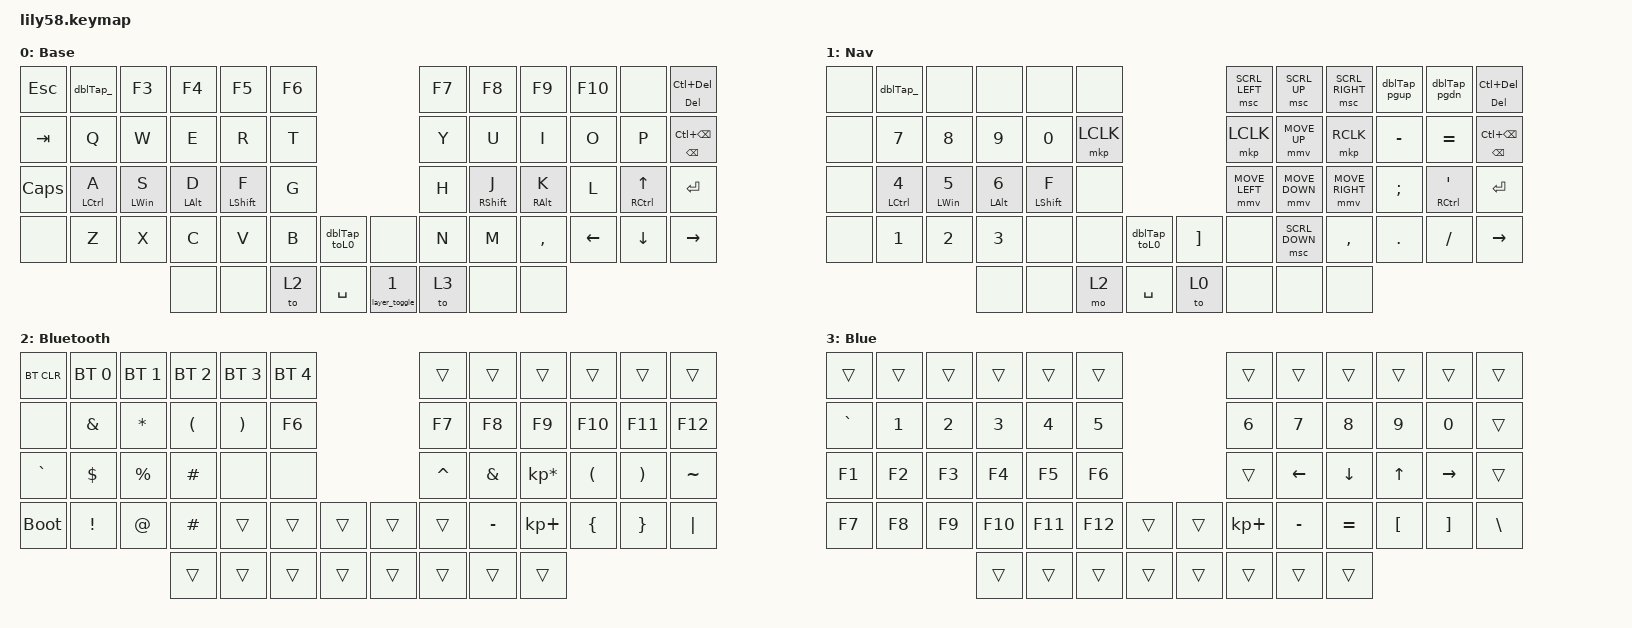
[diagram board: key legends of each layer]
/*
 * Copyright (c) 2020 The ZMK Contributors
 *
 * SPDX-License-Identifier: MIT
 */

#include <behaviors.dtsi>
#include <dt-bindings/zmk/bt.h>
#include <dt-bindings/zmk/keys.h>
#include <dt-bindings/zmk/pointing.h>

/ {
    behaviors {
        hml: hml {
            compatible = "zmk,behavior-hold-tap";
            label = "HML";
            bindings = <&kp>, <&kp>;

            #binding-cells = <2>;
            tapping-term-ms = <300>;
            hold-trigger-key-positions = <54 6 7 8 9 10 11 18 19 20 21 22 23 30 31 32 33 34 35 43 44 45 46 47 48 49 54 55 56 57>;
            hold-trigger-on-release;
            hold-while-undecided;
            flavor = "tap-preferred";
        };

        hml_shft: hml_shft {
            compatible = "zmk,behavior-hold-tap";
            label = "HML_SHFT";
            bindings = <&kp>, <&kp>;

            #binding-cells = <2>;
            tapping-term-ms = <200>;
            hold-while-undecided;
            hold-trigger-on-release;
            hold-trigger-key-positions = <21 6 7 8 9 10 11 18 19 20 21 22 23 30 31 32 33 34 35 43 44 45 46 47 48 49 54 55 56 57>;
        };

        hmr_shft: hmr_shft {
            compatible = "zmk,behavior-hold-tap";
            label = "HMR_SHFT";
            bindings = <&kp>, <&kp>;

            #binding-cells = <2>;
            hold-while-undecided;
            hold-trigger-on-release;
            hold-trigger-key-positions = <53 0 1 2 3 4 5 12 13 14 15 16 17 24 25 26 27 28 29 36 37 38 39 40 41 42 50 51 52 53>;
            tapping-term-ms = <200>;
        };

        hmr: hmr {
            compatible = "zmk,behavior-hold-tap";
            label = "HMR";
            bindings = <&kp>, <&kp>;

            #binding-cells = <2>;
            tapping-term-ms = <250>;
            hold-trigger-on-release;
            hold-while-undecided;
            flavor = "tap-preferred";
            hold-trigger-key-positions = <53 0 1 2 3 4 5 12 13 14 15 16 17 24 25 26 27 28 29 36 37 38 39 40 41 42 50 51 52 53>;
        };

        layer_toggle: layer_toggle {
            compatible = "zmk,behavior-toggle-layer";
            label = "LAYER_TOGGLE";
            #binding-cells = <1>;
        };

        dblTap_period: dblTap_period {
            compatible = "zmk,behavior-tap-dance";
            label = "DBLTAP_PERIOD";
            #binding-cells = <0>;
            bindings = <&kp LEFT_ARROW>, <&kp PERIOD>;
        };

        dblTap_pgup: dblTap_pgup {
            compatible = "zmk,behavior-tap-dance";
            label = "DBLTAP_PGUP";
            #binding-cells = <0>;
            bindings = <&kp HOME>, <&kp PG_UP>;
        };

        dblTap_pgdn: dblTap_pgdn {
            compatible = "zmk,behavior-tap-dance";
            label = "DBLTAP_PGDN";
            #binding-cells = <0>;
            bindings = <&kp END>, <&kp PAGE_DOWN>;
        };

        dblTap_: dblTap__ {
            compatible = "zmk,behavior-tap-dance";
            label = "DBLTAP_@";
            #binding-cells = <0>;
            bindings = <&kp F2>, <&kp AT_SIGN>;
        };

        LongPress_gen: LongPress_gen {
            compatible = "zmk,behavior-hold-tap";
            label = "LONGPRESS_GEN";
            bindings = <&kp>, <&kp>;

            #binding-cells = <2>;
            tapping-term-ms = <350>;
            flavor = "tap-preferred";
        };

        LongPress_Del: LongPress_Del {
            compatible = "zmk,behavior-hold-tap";
            label = "LONGPRESS_DEL";
            bindings = <&kp>, <&kp>;

            #binding-cells = <2>;
            tapping-term-ms = <350>;
            flavor = "tap-preferred";
        };

        dblTap_toL2: dblTap_toL2 {
            compatible = "zmk,behavior-tap-dance";
            label = "DBLTAP_TOL2";
            #binding-cells = <0>;
            bindings = <&kp X>, <&to 3>;
        };

        dblTap_toL3: dblTap_toL3 {
            compatible = "zmk,behavior-tap-dance";
            label = "DBLTAP_TOL3";
            #binding-cells = <0>;
            bindings = <&kp C>, <&to 0>;
        };

        dblTap_toL0: dblTap_toL0 {
            compatible = "zmk,behavior-tap-dance";
            label = "DBLTAP_TOL0";
            #binding-cells = <0>;
            bindings = <&none>, <&to 0>;
        };

        hrm_win: hrm_win {
            compatible = "zmk,behavior-hold-tap";
            label = "HRM_WIN";
            bindings = <&kp>, <&kp>;

            #binding-cells = <2>;
            tapping-term-ms = <350>;
            hold-trigger-key-positions = <54 6 7 8 9 10 11 18 19 20 21 22 23 30 31 32 33 34 35 43 44 45 46 47 48 49 54 55 56 57>;
            hold-trigger-on-release;
            flavor = "tap-preferred";
        };
    };

    keymap {
        compatible = "zmk,keymap";

        default_layer {
            // ------------------------------------------------------------------------------------------------------------
            // |  ESC  |  1  |  2  |  3   |  4   |  5   |                   |  6   |  7    |  8    |  9   |   0   |   `   |
            // |  TAB  |  Q  |  W  |  E   |  R   |  T   |                   |  Y   |  U    |  I    |  O   |   P   |   -   |
            // |  CTRL |  A  |  S  |  D   |  F   |  G   |                   |  H   |  J    |  K    |  L   |   ;   |   '   |
            // | SHIFT |  Z  |  X  |  C   |  V   |  B   |   "["  |  |  "]"  |  N   |  M    |  ,    |  .   |   /   | SHIFT |
            //                     | ALT  | GUI  | LOWER|  SPACE |  | ENTER | RAISE| BSPC  | GUI   |

            display-name = "Base";
            bindings = <
&kp ESC   &dblTap_      &kp F3               &kp F4           &kp F5                  &kp F6                                   &kp F7  &kp F8                   &kp F9            &kp F10         &none                &LongPress_gen DELETE LC(DELETE)
&kp TAB   &kp Q         &kp W                &kp E            &kp R                   &kp T                                    &kp Y   &kp U                    &kp I             &kp O           &kp P                &LongPress_gen BACKSPACE LC(BACKSPACE)
&kp CAPS  &hml LCTRL A  &hrm_win LEFT_WIN S  &hml LEFT_ALT D  &hml_shft LEFT_SHIFT F  &kp G                                    &kp H   &hmr_shft RIGHT_SHIFT J  &hmr RIGHT_ALT K  &kp L           &hmr RCTRL UP_ARROW  &kp RET
&none     &kp Z         &kp X                &kp C            &kp V                   &kp B   &dblTap_toL0    &none            &kp N   &kp M                    &kp COMMA         &kp LEFT_ARROW  &kp DOWN_ARROW       &kp RIGHT_ARROW
                                             &none            &none                   &to 2   &kp SPACE       &layer_toggle 1  &to 3   &none                    &none
            >;
        };

        layer_1 {
            display-name = "Nav";
            bindings = <
&none  &dblTap_             &none             &none                   &none                   &none                                &msc SCRL_LEFT  &msc SCRL_UP    &msc SCRL_RIGHT  &dblTap_pgup   &dblTap_pgdn             &LongPress_gen DELETE LC(DELETE)
&none  &kp N7               &kp N8            &kp N9                  &kp N0                  &mkp LCLK                            &mkp LCLK       &mmv MOVE_UP    &mkp RCLK        &kp MINUS      &kp EQUAL                &LongPress_gen BACKSPACE LC(BACKSPACE)
&none  &hml LCTRL NUMBER_4  &hml LEFT_WIN N5  &hml LEFT_ALT NUMBER_6  &hml_shft LEFT_SHIFT F  &none                                &mmv MOVE_LEFT  &mmv MOVE_DOWN  &mmv MOVE_RIGHT  &kp SEMICOLON  &hmr RCTRL SINGLE_QUOTE  &kp RET
&none  &kp NUMBER_1         &kp NUMBER_2      &kp NUMBER_3            &none                   &none      &dblTap_toL0    &kp RBKT  &none           &msc SCRL_DOWN  &kp COMMA        &kp PERIOD     &kp SLASH                &kp RIGHT_ARROW
                                              &none                   &none                   &mo 2      &kp SPACE       &to 0     &none           &none           &none
            >;
        };

        L2 {
            // ------------------------------------------------------------------------------------------------------------
            // | BTCLR | BT1 | BT2 |  BT3 |  BT4 |  BT5 |                   |      |       |       |      |       |       |
            // |  F1   |  F2 |  F3 |  F4  |  F5  |  F6  |                   |  F7  |  F8   |  F9   |  F10 |  F11  |  F12  |
            // |   `   |  !  |  @  |  #   |  $   |  %   |                   |  ^   |  &    |  *    |  (   |   )   |   ~   |
            // |       |     |     |      |      |      |        |  |       |      |  _    |  +    |  {   |   }   |  "|"  |
            //                     |      |      |      |        |  |       |      |       |       |

            display-name = "Bluetooth";
            bindings = <
&bt BT_CLR   &bt BT_SEL 0     &bt BT_SEL 1  &bt BT_SEL 2          &bt BT_SEL 3           &bt BT_SEL 4                    &trans     &trans     &trans           &trans    &trans    &trans
&none        &kp AMPERSAND    &kp ASTERISK  &kp LEFT_PARENTHESIS  &kp RIGHT_PARENTHESIS  &kp F6                          &kp F7     &kp F8     &kp F9           &kp F10   &kp F11   &kp F12
&kp GRAVE    &kp DOLLAR       &kp PERCENT   &kp HASH              &none                  &none                           &kp CARET  &kp AMPS   &kp KP_MULTIPLY  &kp LPAR  &kp RPAR  &kp TILDE
&bootloader  &kp EXCLAMATION  &kp AT_SIGN   &kp HASH              &trans                 &trans        &trans    &trans  &trans     &kp MINUS  &kp KP_PLUS      &kp LBRC  &kp RBRC  &kp PIPE
                                            &trans                &trans                 &trans        &trans    &trans  &trans     &trans     &trans
            >;
        };

        L3 {
            // ------------------------------------------------------------------------------------------------------------
            // |       |     |     |      |      |      |                   |      |       |       |      |       |       |
            // |   `   |  1  |  2  |  3   |  4   |  5   |                   |  6   |   7   |   8   |  9   |   0   |       |
            // |   F1  |  F2 |  F3 |  F4  |  F5  |  F6  |                   |      |   <-  |   v   |  ^   |  ->   |       |
            // |   F7  |  F8 |  F9 |  F10 |  F11 |  F12 |        |  |       |  +   |   -   |   =   |  [   |   ]   |   \   |
            //                     |      |      |      |        |  |       |      |       |       |

            display-name = "Blue";
            bindings = <
&trans     &trans  &trans  &trans   &trans   &trans                     &trans       &trans     &trans     &trans    &trans     &trans
&kp GRAVE  &kp N1  &kp N2  &kp N3   &kp N4   &kp N5                     &kp N6       &kp N7     &kp N8     &kp N9    &kp N0     &trans
&kp F1     &kp F2  &kp F3  &kp F4   &kp F5   &kp F6                     &trans       &kp LEFT   &kp DOWN   &kp UP    &kp RIGHT  &trans
&kp F7     &kp F8  &kp F9  &kp F10  &kp F11  &kp F12  &trans    &trans  &kp KP_PLUS  &kp MINUS  &kp EQUAL  &kp LBKT  &kp RBKT   &kp BSLH
                           &trans   &trans   &trans   &trans    &trans  &trans       &trans     &trans
            >;
        };
    };
};
